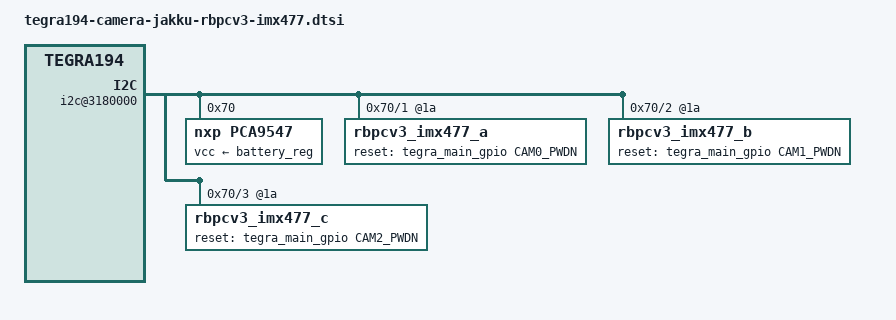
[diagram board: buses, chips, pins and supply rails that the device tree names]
/*
 * Copyright (c) 2021, NVIDIA CORPORATION.  All rights reserved.
 *
 * This program is free software; you can redistribute it and/or modify
 * it under the terms of the GNU General Public License as published by
 * the Free Software Foundation; either version 2 of the License, or
 * (at your option) any later version.
 *
 * This program is distributed in the hope that it will be useful, but WITHOUT
 * ANY WARRANTY; without even the implied warranty of MERCHANTABILITY or
 * FITNESS FOR A PARTICULAR PURPOSE.  See the GNU General Public License for
 * more details.
 *
 * You should have received a copy of the GNU General Public License
 * along with this program.  If not, see <http://www.gnu.org/licenses/>.
 */

#include "tegra194-camera-rbpcv3-imx477.dtsi"

#define CAM0_PWDN	TEGRA194_MAIN_GPIO(P, 4)
#define CAM1_PWDN	TEGRA194_MAIN_GPIO(P, 5)
#define CAM2_PWDN       TEGRA194_MAIN_GPIO(R, 5)
#define CAM_I2C_MUX 	TEGRA194_AON_GPIO(CC, 3)
#define CAMERA_I2C_MUX_BUS(x)  (0x1E + x)

/ {
	i2c@3180000 {
		pca9547@70 {
			compatible = "nxp,pca9547";
			#address-cells = <1>;
			#size-cells = <0>;
			reg = <0x70>;
			status = "okay";
			vcc-supply = <&battery_reg>;
			force_bus_start = <CAMERA_I2C_MUX_BUS(0)>;
			i2c@31 {
				reg = <1>;
				i2c-mux,deselect-on-exit;
				#address-cells = <1>;
				#size-cells = <0>;
				rbpcv3_imx477_a@1a {
					status = "okay";
					reset-gpios = <&tegra_main_gpio CAM0_PWDN GPIO_ACTIVE_HIGH>;
				};
			};
			i2c@32 {
				reg = <2>;
				i2c-mux,deselect-on-exit;
				#address-cells = <1>;
				#size-cells = <0>;
				rbpcv3_imx477_b@1a {
					status = "okay";
					reset-gpios = <&tegra_main_gpio CAM1_PWDN GPIO_ACTIVE_HIGH>;
				};
			};
			i2c@33 {
				reg = <3>;
				i2c-mux,deselect-on-exit;
				#address-cells = <1>;
				#size-cells = <0>;
				rbpcv3_imx477_c@1a {
					status = "okay";
					reset-gpios = <&tegra_main_gpio CAM2_PWDN GPIO_ACTIVE_HIGH>;
				};
			};
		};
	};
};
